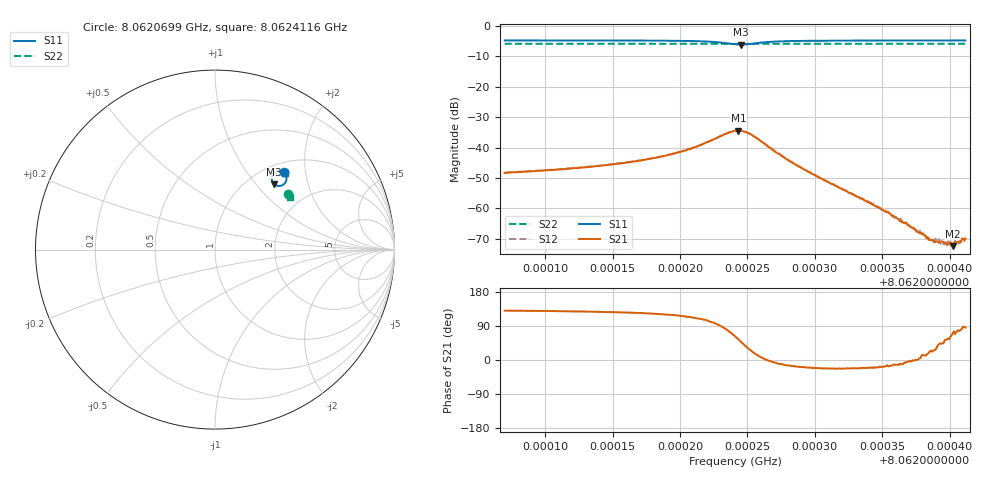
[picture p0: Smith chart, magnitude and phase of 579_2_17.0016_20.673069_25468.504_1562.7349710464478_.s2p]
#  HZ  S  RI  R  50.00
! Rohde & Schwarz Vector Network Analyzer
! Rohde-Schwarz,ZNB20-2Port,1311601062101988,3.16
! Created: UTC 3/20/2024, 11:18:02 PM
! freq[Hz]  re:S11  im:S11  re:S21  im:S21  re:S12  im:S12  re:S22  im:S22
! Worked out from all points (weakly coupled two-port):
!   401 points, 8.0620699 GHz to 8.0624116 GHz, reference 50 ohm
!   highest |S21| = -34.41 dB at 8.0622434 GHz (marker M1); lowest = -72.4 dB at 8.0624022 GHz (marker M2)
!   lowest |S11| = -6.2 dB at 8.0622451 GHz (marker M3), VSWR 2.94, Z = 65.2 + j62.7 ohm
!   |S11| at or under -10 dB: nowhere
!   |S22| runs from -5.9 to -5.9 dB; largest |S21 - S12| = 0.0012
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8.06206995e9  0.3818 0.4312  -0.00247 0.00293  -0.00235 0.00311  0.4052 0.3075
8.06212718e9  0.3873 0.4254  -0.00291 0.00367  -0.00271 0.00389  0.4072 0.3046
8.06215708e9  0.391 0.4205  -0.00322 0.0045  -0.00296 0.00473  0.4084 0.3029
8.06218442e9  0.3951 0.413  -0.00363 0.00598  -0.00329 0.00622  0.4094 0.3012
8.06220919e9  0.3986 0.3979  -0.00366 0.00909  -0.00317 0.00935  0.4101 0.2993
8.06222798e9  0.39 0.3706  -0.00088 0.0146  -9.08e-05 0.0147  0.4101 0.2972
8.0622408e9  0.3491 0.3554  0.00857 0.0167  0.00967 0.0163  0.4084 0.2967
8.06224336e9  0.3375 0.3595  0.0111 0.0155  0.0121 0.0149  0.4081 0.2966
8.06224507e9  0.3304 0.3644  0.0125 0.0141  0.0133 0.0135  0.4079 0.297
8.06225361e9  0.3162 0.3999  0.0149 0.00586  0.0152 0.00509  0.408 0.2983
8.06227924e9  0.3516 0.4368  0.00623 -0.00154  0.0062 -0.00191  0.4109 0.2983
8.06229803e9  0.3654 0.4364  0.00345 -0.00131  0.00341 -0.00152  0.4121 0.2972
8.0623416e9  0.3787 0.4318  0.00111 -0.00042  0.00114 -0.000504  0.4141 0.2947
8.06235527e9  0.381 0.4304  0.000793 -0.000227  0.000801 -0.00025  0.4146 0.294
8.06235783e9  0.3814 0.4302  0.00074 -0.000187  0.000701 -0.000237  0.4147 0.2938
8.06237918e9  0.3843 0.4283  0.000369 7.66e-05  0.000395 -1.45e-06  0.4156 0.2926
8.06238687e9  0.3852 0.4277  0.000276 0.00011  0.000265 0.000105  0.4159 0.2922
8.06239029e9  0.3856 0.4273  0.000244 0.000154  0.000251 0.000146  0.4161 0.2921
8.06239456e9  0.3861 0.427  0.000205 0.000198  0.000213 0.000176  0.4161 0.2919
8.0624014e9  0.3869 0.4264  0.000115 0.000246  0.000114 0.000211  0.4164 0.2914
8.06240225e9  0.3869 0.4265  8.11e-05 0.000227  0.000132 0.000226  0.4164 0.2914
8.06241165e9  0.3879 0.4257  2.35e-05 0.000319  3.21e-05 0.000319  0.4167 0.2909
